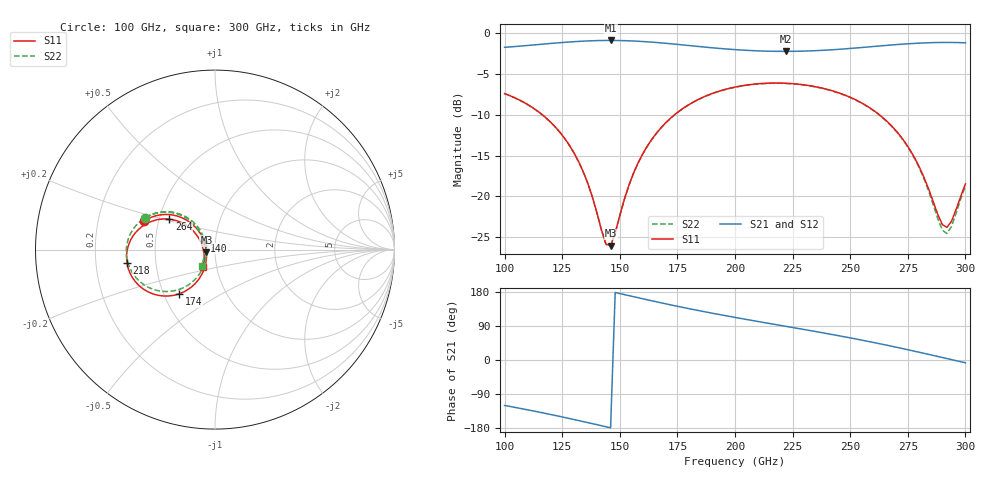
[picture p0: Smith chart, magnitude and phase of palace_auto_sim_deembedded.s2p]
! Created with skrf 1.11.0 (http://scikit-rf.org).
# GHz S DB R 50.0
!freq dBS11 angS11 dBS21 angS21 dBS12 angS12 dBS22 angS22
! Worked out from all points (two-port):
!   101 points, 100 GHz to 300 GHz, reference 50 ohm
!   highest |S21| = -0.86 dB at 146 GHz (marker M1); lowest = -2.2 dB at 222 GHz (marker M2)
!   |S21| within 3 dB of the highest: start of sweep to end of sweep
!   lowest |S11| = -26.1 dB at 146 GHz (marker M3), VSWR 1.10, Z = 45.4 - j1.32 ohm
!   |S11| at or under -10 dB: 116.4 GHz to 173.7 GHz (57.31 GHz wide, 39.5 % of centre); 262.7 GHz to end of sweep
!   |S22| runs from -26.1 to -6.1 dB; largest |S21 - S12| = 1e-13
!   S11 on the Smith chart (normalised r, x): 100 GHz: 0.41, +0.16; 140 GHz: 0.88, +0.09; 174 GHz: 0.60, -0.33; 218 GHz: 0.34, -0.07; 264 GHz: 0.57, +0.21; 300 GHz: 0.86, -0.17
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100  -7.39 158.2  -1.70 -119.9  -1.70 -119.9  -7.40 155.3
120  -10.90 138.8  -1.23 -143.8  -1.23 -143.8  -10.92 135.3
128  -13.69 132.6  -1.05 -154.2  -1.05 -154.2  -13.70 128.9
134  -16.90 131.2  -0.95 -162.3  -0.95 -162.3  -16.92 127.3
140  -21.95 141.0  -0.88 -170.6  -0.88 -170.6  -21.98 136.8
144  -25.87 171.4  -0.86 -176.2  -0.86 -176.2  -25.92 167.2
146  -26.07 -163.1  -0.86 -179.0  -0.86 -179.0  -26.13 -167.2
156  -17.13 -118.3  -0.93 167.0  -0.93 167.0  -17.15 -122.7
168  -11.55 -123.7  -1.16 150.8  -1.16 150.8  -11.57 -128.5
174  -9.93 -129.2  -1.32 143.0  -1.32 143.0  -9.95 -134.2
200  -6.59 -154.7  -1.99 112.4  -1.99 112.4  -6.61 -160.5
218  -6.09 -171.6  -2.20 93.1  -2.20 93.1  -6.11 -178.0
222  -6.12 -175.2  -2.20 88.9  -2.20 88.9  -6.14 178.2
234  -6.49 173.7  -2.13 76.2  -2.13 76.2  -6.52 166.7
250  -7.84 158.8  -1.84 58.3  -1.84 58.3  -7.87 151.2
264  -10.30 146.3  -1.51 41.4  -1.51 41.4  -10.34 138.0
268  -11.36 143.2  -1.42 36.3  -1.42 36.3  -11.42 134.7
280  -16.40 139.8  -1.19 20.4  -1.19 20.4  -16.54 130.1
290  -23.47 175.1  -1.11 6.6  -1.11 6.6  -24.16 165.5
292  -23.82 -166.5  -1.11 3.8  -1.11 3.8  -24.58 -174.4
294  -23.05 -149.1  -1.11 1.0  -1.11 1.0  -23.67 -155.5
300  -18.48 -123.7  -1.15 -7.4  -1.15 -7.4  -18.70 -130.0
